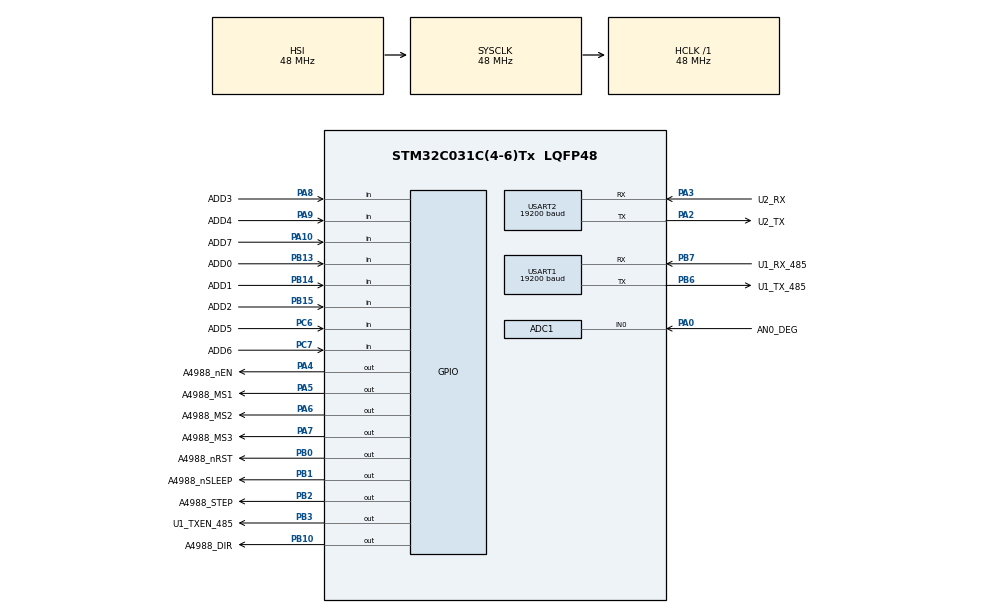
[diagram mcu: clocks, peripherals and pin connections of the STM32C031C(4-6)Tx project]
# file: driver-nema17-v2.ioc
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ADC1.Channel-1\#ChannelRegularConversion=ADC_CHANNEL_0
ADC1.Channel-2\#ChannelRegularConversion=ADC_CHANNEL_0
ADC1.Channel-3\#ChannelRegularConversion=ADC_CHANNEL_0
ADC1.NbrOfConversion=3
ADC1.NbrOfConversionFlag=1
ADC1.Rank-1\#ChannelRegularConversion=1
ADC1.Rank-2\#ChannelRegularConversion=2
ADC1.Rank-3\#ChannelRegularConversion=3
ADC1.SamplingTime-1\#ChannelRegularConversion=ADC_SAMPLINGTIME_COMMON_1
ADC1.SamplingTime-2\#ChannelRegularConversion=ADC_SAMPLINGTIME_COMMON_1
ADC1.SamplingTime-3\#ChannelRegularConversion=ADC_SAMPLINGTIME_COMMON_1
ADC1.SamplingTimeCommon1=ADC_SAMPLETIME_39CYCLES_5
ADC1.SamplingTimeCommon2=ADC_SAMPLETIME_39CYCLES_5
ADC1.SelectedChannel=ADC_CHANNEL_0
ADC1.master=1
Dma.ADC1.0.Direction=DMA_PERIPH_TO_MEMORY
Dma.ADC1.0.EventEnable=DISABLE
Dma.ADC1.0.Instance=DMA1_Channel1
Dma.ADC1.0.MemDataAlignment=DMA_MDATAALIGN_HALFWORD
Dma.ADC1.0.MemInc=DMA_MINC_ENABLE
Dma.ADC1.0.Mode=DMA_NORMAL
Dma.ADC1.0.PeriphDataAlignment=DMA_PDATAALIGN_HALFWORD
Dma.ADC1.0.PeriphInc=DMA_PINC_DISABLE
Dma.ADC1.0.Polarity=HAL_DMAMUX_REQ_GEN_RISING
Dma.ADC1.0.Priority=DMA_PRIORITY_LOW
Dma.ADC1.0.RequestNumber=1
Dma.ADC1.0.SignalID=NONE
Dma.ADC1.0.SyncEnable=DISABLE
Dma.ADC1.0.SyncPolarity=HAL_DMAMUX_SYNC_NO_EVENT
Dma.ADC1.0.SyncRequestNumber=1
Dma.ADC1.0.SyncSignalID=NONE
Dma.Request0=ADC1
Mcu.Family=STM32C0
Mcu.Name=STM32C031C(4-6)Tx
Mcu.Package=LQFP48
NVIC.DMA1_Channel1_IRQn=true\:0\:0\:false\:false\:true\:false\:true\:true
NVIC.USART1_IRQn=true\:0\:0\:false\:false\:true\:true\:true\:true
PA0.GPIO_Label=AN0_DEG
PA0.Mode=IN0
PA0.Signal=ADC1_IN0
PA10.GPIO_Label=ADD7
PA10.GPIO_Mode=GPIO_MODE_INPUT
PA10.GPIO_PuPd=GPIO_PULLDOWN
PA10.Signal=GPIO_Input
PA13.Mode=Serial_Wire
PA13.Signal=DEBUG_SWDIO
PA14-BOOT0.Mode=Serial_Wire
PA14-BOOT0.Signal=DEBUG_SWCLK
PA2.GPIO_Label=U2_TX
PA2.Mode=Asynchronous
PA2.Signal=USART2_TX
PA3.GPIO_Label=U2_RX
PA3.Mode=Asynchronous
PA3.Signal=USART2_RX
PA4.GPIO_Label=A4988_nEN
PA4.Signal=GPIO_Output
PA5.GPIO_Label=A4988_MS1
PA5.Signal=GPIO_Output
PA6.GPIO_Label=A4988_MS2
PA6.Signal=GPIO_Output
PA7.GPIO_Label=A4988_MS3
PA7.Signal=GPIO_Output
PA8.GPIO_Label=ADD3
PA8.GPIO_Mode=GPIO_MODE_INPUT
PA8.GPIO_PuPd=GPIO_PULLDOWN
PA8.Signal=GPIO_Input
PA9.GPIO_Label=ADD4
PA9.GPIO_Mode=GPIO_MODE_INPUT
PA9.GPIO_PuPd=GPIO_PULLDOWN
PA9.Signal=GPIO_Input
PB0.GPIO_Label=A4988_nRST
PB0.Signal=GPIO_Output
PB1.GPIO_Label=A4988_nSLEEP
PB1.Signal=GPIO_Output
PB10.GPIO_Label=A4988_DIR
PB10.Signal=GPIO_Output
PB13.GPIO_Label=ADD0
PB13.GPIO_Mode=GPIO_MODE_INPUT
PB13.GPIO_PuPd=GPIO_PULLDOWN
PB13.Signal=GPIO_Input
PB14.GPIO_Label=ADD1
PB14.GPIO_Mode=GPIO_MODE_INPUT
PB14.GPIO_PuPd=GPIO_PULLDOWN
PB14.Signal=GPIO_Input
PB15.GPIO_Label=ADD2
PB15.GPIO_Mode=GPIO_MODE_INPUT
PB15.GPIO_PuPd=GPIO_PULLDOWN
PB15.Signal=GPIO_Input
PB2.GPIO_Label=A4988_STEP
PB2.Signal=GPIO_Output
PB3.GPIO_Label=U1_TXEN_485
PB3.Signal=GPIO_Output
PB6.GPIO_Label=U1_TX_485
PB6.Mode=Asynchronous
PB6.Signal=USART1_TX
PB7.GPIO_Label=U1_RX_485
PB7.Mode=Asynchronous
PB7.Signal=USART1_RX
PC6.GPIO_Label=ADD5
PC6.GPIO_Mode=GPIO_MODE_INPUT
PC6.GPIO_PuPd=GPIO_PULLDOWN
PC6.Signal=GPIO_Input
PC7.GPIO_Label=ADD6
PC7.GPIO_Mode=GPIO_MODE_INPUT
PC7.GPIO_PuPd=GPIO_PULLDOWN
PC7.Signal=GPIO_Input
ProjectManager.HeapSize=0x200
ProjectManager.StackSize=0x400
ProjectManager.TargetToolchain=STM32CubeIDE
RCC.ADCCLockSelection=RCC_ADCCLKSOURCE_HSIKER
RCC.ADCFreq_Value=12000000
RCC.AHBFreq_Value=48000000
RCC.APB1CLKDivider=RCC_APB1_DIV2
RCC.CortexFreq_Value=48000000
RCC.EXTERNAL_CLOCK_VALUE=12288000
RCC.HCLKFreq_Value=48000000
RCC.HSE_VALUE=8000000
RCC.HSIKERCLKDivider=RCC_HSIKER_DIV4
RCC.HSISYSCLKDivider=RCC_HSI_DIV1
RCC.HSI_VALUE=48000000
RCC.LSE_VALUE=32768
RCC.SYSCLKFreq_VALUE=48000000
USART1.BaudRate=19200
USART1.FIFOMode=FIFOMODE_ENABLE
USART1.OverrunDisableParam=ADVFEATURE_OVERRUN_DISABLE
USART1.TXFIFOThreshold=TXFIFO_THRESHOLD_EMPTY
USART1.VirtualMode-Asynchronous=VM_ASYNC
USART2.BaudRate=19200
USART2.DMADisableonRxErrorParam=ADVFEATURE_DMA_DISABLEONRXERROR
USART2.OverrunDisableParam=ADVFEATURE_OVERRUN_DISABLE
USART2.VirtualMode-Asynchronous=VM_ASYNC
board=custom

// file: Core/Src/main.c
/* USER CODE BEGIN Header */
/**
  ******************************************************************************
  * @file           : main.c
  * @brief          : Main program body
  ******************************************************************************
  * @attention
  *
  * Copyright (c) 2024 STMicroelectronics.
  * All rights reserved.
  *
  * This software is licensed under terms that can be found in the LICENSE file
  * in the root directory of this software component.
  * If no LICENSE file comes with this software, it is provided AS-IS.
  *
  ******************************************************************************
  */
/* USER CODE END Header */
#include "main.h"

/* USER CODE BEGIN Includes */

#include <stdio.h>
#include <string.h>

/* USER CODE END Includes */

/* USER CODE BEGIN PM */

#define RX_BUFFER_SIZE 256
#define TX_BUFFER_SIZE 512
#define JSON_TOKEN_NOT_FOUND  0xFFFF
#define DEVICE_ID_BROADCAST    0x100
#define SAFETY_GAP                40

#define EN_TX_485() { HAL_GPIO_WritePin(U1_TXEN_485_GPIO_Port, U1_TXEN_485_Pin, 1); }
#define EN_RX_485() { HAL_GPIO_WritePin(U1_TXEN_485_GPIO_Port, U1_TXEN_485_Pin, 0); }

/* USER CODE END PM */

ADC_HandleTypeDef hadc1;
DMA_HandleTypeDef hdma_adc1;

UART_HandleTypeDef huart1;
UART_HandleTypeDef huart2;

/* USER CODE BEGIN PV */

uint8_t txBuffer[TX_BUFFER_SIZE];
uint8_t rxIndex, rxRcvd, rxBuffer[RX_BUFFER_SIZE];

uint16_t anValues[3], angolo4096;

/* USER CODE END PV */

void SystemClock_Config(void);
void PeriphCommonClock_Config(void);
static void MX_GPIO_Init(void);
static void MX_DMA_Init(void);
static void MX_USART1_UART_Init(void);
static void MX_ADC1_Init(void);
static void MX_USART2_UART_Init(void);

/* USER CODE BEGIN 0 */

long int ParserJSON(const char *token) {
	int i, j, ap, ch, done, trovato;

	long int retval = JSON_TOKEN_NOT_FOUND;

	/* il buffer è circolare, potrebbe trovarsi a cavalcioni,
	 * quindi prima cosa cerco la graffa aperta */
	for (i=0, ap=-1, ch=-1; i<RX_BUFFER_SIZE; i++) {
		if (rxBuffer[i] == '{') { ap = i; }
		if (rxBuffer[i] == '}') { ch = i; }
	}

	if ((ap >= 0) && (ch >= 0)) {

		/* ci sono tutte le graffe, cerco il token desiderato */
		for (i=ap+1, j=0, trovato=0, done=0; done==0; i++) {
			if (i >= RX_BUFFER_SIZE) { i = i % RX_BUFFER_SIZE; }

			if ((rxBuffer[i] == ':') && (token[j]==0)) { trovato=1; done=1; }
			else if (rxBuffer[i] == token[j]) { j++; }
			else { j=0; }

			if (rxBuffer[i] == '}') { done=1; }
		}

		if (trovato != 0) {
			/* trovato il token, tiro fuori il valore */
			retval = 0;
			for (done=0; done==0; i++) {
				if (i >= RX_BUFFER_SIZE) { i = i % RX_BUFFER_SIZE; }

				if ((rxBuffer[i] == ',') || (rxBuffer[i] == '}')) { done=1; }
				else if ((rxBuffer[i] >= '0') && (rxBuffer[i] <= '9')) {
					retval = (retval*10) + rxBuffer[i] - '0';
				}
			}
		}
	}

	return retval;
}

/* USER CODE END 0 */

int main(void)
{

  /* USER CODE BEGIN 1 */

	uint32_t status;
	int device_id;
	int32_t direction, steps_to_do;
	int32_t deg4096_to_go;

	deg4096_to_go = -1;

	/* direction : 1=avanti  -1=indietro */

  /* USER CODE END 1 */

  /* MCU Configuration--------------------------------------------------------*/

  /* Reset of all peripherals, Initializes the Flash interface and the Systick. */
  HAL_Init();

  /* Configure the system clock */
  SystemClock_Config();

/* Configure the peripherals common clocks */
  PeriphCommonClock_Config();

  /* Initialize all configured peripherals */
  MX_GPIO_Init();
  MX_DMA_Init();
  MX_USART1_UART_Init();
  MX_ADC1_Init();
  MX_USART2_UART_Init();
  /* USER CODE BEGIN 2 */

  /* A4988 MS3, MS2, MS1 LOW  LOW  LOW  =   FULL STEP  */
  /* A4988 MS3, MS2, MS1 LOW  LOW  HIGH =   HALF STEP  */
  /* A4988 MS3, MS2, MS1 LOW  HIGH LOW  =  4 microstep */
  /* A4988 MS3, MS2, MS1 LOW  HIGH HIGH =  8 microstep */
  /* A4988 MS3, MS2, MS1 HIGH HIGH HIGH = 16 microstep */
  HAL_GPIO_WritePin(A4988_MS1_GPIO_Port, A4988_MS1_Pin, 0);
  HAL_GPIO_WritePin(A4988_MS2_GPIO_Port, A4988_MS2_Pin, 0);
  HAL_GPIO_WritePin(A4988_MS3_GPIO_Port, A4988_MS3_Pin, 0);

  /* imposto step e direzione */
  HAL_GPIO_WritePin(A4988_DIR_GPIO_Port,  A4988_DIR_Pin,  0);
  HAL_GPIO_WritePin(A4988_STEP_GPIO_Port, A4988_STEP_Pin, 0);
  direction = 0; steps_to_do = 0;

  /* abilito il driver */
  HAL_GPIO_WritePin(A4988_nRST_GPIO_Port,   A4988_nRST_Pin,   1);
  HAL_GPIO_WritePin(A4988_nSLEEP_GPIO_Port, A4988_nSLEEP_Pin, 0);
  HAL_GPIO_WritePin(A4988_nEN_GPIO_Port,    A4988_nEN_Pin,    1);

  /* lettura device-id */
  int temp;
  device_id = -1;
  do {
	  temp = device_id;
	  HAL_Delay(100);
	  device_id = HAL_GPIO_ReadPin(ADD7_GPIO_Port, ADD7_Pin) & 0x01;
	  device_id = device_id << 1;
	  device_id += HAL_GPIO_ReadPin(ADD6_GPIO_Port, ADD6_Pin) & 0x01;
	  device_id = device_id << 1;
	  device_id += HAL_GPIO_ReadPin(ADD5_GPIO_Port, ADD5_Pin) & 0x01;
	  device_id = device_id << 1;
	  device_id += HAL_GPIO_ReadPin(ADD4_GPIO_Port, ADD4_Pin) & 0x01;
	  device_id = device_id << 1;
	  device_id += HAL_GPIO_ReadPin(ADD3_GPIO_Port, ADD3_Pin) & 0x01;
	  device_id = device_id << 1;
	  device_id += HAL_GPIO_ReadPin(ADD2_GPIO_Port, ADD2_Pin) & 0x01;
	  device_id = device_id << 1;
	  device_id += HAL_GPIO_ReadPin(ADD1_GPIO_Port, ADD1_Pin) & 0x01;
	  device_id = device_id << 1;
	  device_id += HAL_GPIO_ReadPin(ADD0_GPIO_Port, ADD0_Pin) & 0x01;
  } while (temp != device_id);

  // attiva la ricezione ad interrupt
  rxIndex = 0;
  EN_RX_485();
  HAL_Delay(10);
  HAL_UART_Receive_IT(&huart1, &rxRcvd, 1);

  // Avvia la conversione
  if (HAL_ADC_Start_DMA(&hadc1, (uint32_t *)anValues, 3) != HAL_OK) { Error_Handler(); }

  // invio stringa di debug
  sprintf((char *)txBuffer, "\r\n" VERSION );
  HAL_UART_Transmit(&huart2,  txBuffer, strlen((char *)txBuffer), 100);
  sprintf((char *)txBuffer, "\r\n----\r\nDevice ID: %d\r\n\r\n", device_id);
  HAL_UART_Transmit(&huart2,  txBuffer, strlen((char *)txBuffer), 100);

  /* USER CODE END 2 */

  /* Infinite loop */
  while (1)
  {

    /* USER CODE BEGIN 3 */

	  status = HAL_ADC_GetState(&hadc1);

	  if ( (status & HAL_ADC_STATE_REG_BUSY) == 0 ) {

		  // La scansione ADC è completa
		  angolo4096 = (anValues[0] + anValues[1] + anValues[2]) / 3;

		  /*
		   // mostra il valore rilevato
		   sprintf((char *)txBuffer, "%5d %5d %5d : %06d\r"
				    , anValues[0], anValues[1], anValues[2]
				    , angolo4096);
		   HAL_UART_Transmit(&huart2,  txBuffer, strlen((char *)txBuffer), 100);
		   */

		  // Riavvia un'altra conversione
		  if (HAL_ADC_Start_DMA(&hadc1, (uint32_t *)anValues, 3) != HAL_OK) { Error_Handler(); }

		  // se devo posizionare ad anello chiuso,
		  // eseguo la movimentazione
		  if (deg4096_to_go >= 0) {

 			  // abilitazione
 			  HAL_GPIO_WritePin(A4988_nSLEEP_GPIO_Port, A4988_nSLEEP_Pin, 1);
 			  HAL_GPIO_WritePin(A4988_nEN_GPIO_Port,    A4988_nEN_Pin,    0);
 			  /* A4988 MS3, MS2, MS1 LOW  HIGH HIGH =  8 microstep */
 			  HAL_GPIO_WritePin(A4988_MS1_GPIO_Port, A4988_MS1_Pin, 1);
 			  HAL_GPIO_WritePin(A4988_MS2_GPIO_Port, A4988_MS2_Pin, 1);
 			  HAL_GPIO_WritePin(A4988_MS3_GPIO_Port, A4988_MS3_Pin, 0);
 			  HAL_Delay(1);

 			  // vai avanti se è troppo indietro
 			  if (angolo4096 < (deg4096_to_go - SAFETY_GAP)) {
 				  HAL_GPIO_WritePin(A4988_DIR_GPIO_Port,  A4988_DIR_Pin, 1);
 			  }
 			  else
 	 		  // vai indietro se è troppo avanti
 	 		  if (angolo4096 > (deg4096_to_go + SAFETY_GAP)) {
 	 			  HAL_GPIO_WritePin(A4988_DIR_GPIO_Port,  A4988_DIR_Pin, 0);
 	 		  }
 	 		  else
 	 	      // sono arrivato dentro la banda di sicurezza +/- SAFETY_GAP
 			  //: disabilito
 	 		  {
 	 			  deg4096_to_go = -1;

 	 			  // disabilitazione
 	 			  HAL_GPIO_WritePin(A4988_nSLEEP_GPIO_Port, A4988_nSLEEP_Pin, 0);
 	 			  HAL_GPIO_WritePin(A4988_nEN_GPIO_Port,    A4988_nEN_Pin,    1);
 	 		  }

 			  /* faccio uno step */
 			  HAL_GPIO_WritePin(A4988_STEP_GPIO_Port, A4988_STEP_Pin, 1);
 			  HAL_Delay(1);
 			  HAL_GPIO_WritePin(A4988_STEP_GPIO_Port, A4988_STEP_Pin, 0);
 			  HAL_Delay(1);

		  }
	  }

	  /* controllo del motore */

	  /* protocollo JSON */
	  long int json1 = ParserJSON("id");
	  long int json2 = ParserJSON("dir");
	  long int json3 = ParserJSON("step");
	  long int json4 = ParserJSON("ppr");   // pulses per revolution
	  long int json5 = ParserJSON("deg");   // eseguo subito un posizionamento con controllo ad anello chiuso
	  long int json6 = ParserJSON("go");
	  long int json7 = ParserJSON("rnd");   // serve a complicare il protocollo e renderlo un po' più robusto
	  long int csum  = ParserJSON("csum");
 	  int rnd = HAL_GetTick() & 0xffff;     // genera numero pseudo casuale

	  if ((json1 == device_id) || (json1 == DEVICE_ID_BROADCAST)) {

		  // attendo un attimo per consentire lo switch TX->RX al master
		  HAL_Delay(2);

		  // invio stringa di debug
		  //sprintf((char *)txBuffer, "<-- %s\n\r", rxBuffer);
		  //HAL_UART_Transmit(&huart2,  txBuffer, strlen((char *)txBuffer), 100);

		  // FF = Broadcasting

		  long int tmpCsum = json1;
		  if ( json2 != JSON_TOKEN_NOT_FOUND ) { tmpCsum += json2; }
		  if ( json3 != JSON_TOKEN_NOT_FOUND ) { tmpCsum += json3; }
		  if ( json4 != JSON_TOKEN_NOT_FOUND ) { tmpCsum += json4; }
		  if ( json5 != JSON_TOKEN_NOT_FOUND ) { tmpCsum += json5; }
		  if ( json6 != JSON_TOKEN_NOT_FOUND ) { tmpCsum += json6; }
		  if ( json7 != JSON_TOKEN_NOT_FOUND ) { tmpCsum += json7; }

	 	  if ( csum == tmpCsum ) {

	 		  // invio stringa di debug
	 		  //sprintf((char *)txBuffer, " ID=%d (mio ID=%d)\n\r", json1, device_id);
	 		  //HAL_UART_Transmit(&huart2,  txBuffer, strlen((char *)txBuffer), 100);

	 		  // esegue il comando

	 		  // PULSES PER REVOLUTION
	 		  if ( json4 != JSON_TOKEN_NOT_FOUND ) {
	 			  switch ( json4 ) {
 			  	  	  case 400: /* A4988 MS3, MS2, MS1 LOW  LOW  HIGH =   HALF STEP  */
 			  	  		  HAL_GPIO_WritePin(A4988_MS1_GPIO_Port, A4988_MS1_Pin, 1);
 			  	  		  HAL_GPIO_WritePin(A4988_MS2_GPIO_Port, A4988_MS2_Pin, 0);
 			  	  		  HAL_GPIO_WritePin(A4988_MS3_GPIO_Port, A4988_MS3_Pin, 0);
 			  	  		  break;

 			  	  	  case 800: /* A4988 MS3, MS2, MS1 LOW  HIGH LOW  =  4 microstep */
 			  	  		  HAL_GPIO_WritePin(A4988_MS1_GPIO_Port, A4988_MS1_Pin, 0);
 			  	  		  HAL_GPIO_WritePin(A4988_MS2_GPIO_Port, A4988_MS2_Pin, 1);
 			  	  		  HAL_GPIO_WritePin(A4988_MS3_GPIO_Port, A4988_MS3_Pin, 0);
 			  	  		  break;

 			  	  	  case 1600: /* A4988 MS3, MS2, MS1 LOW  HIGH HIGH =  8 microstep */
 			  	  		  HAL_GPIO_WritePin(A4988_MS1_GPIO_Port, A4988_MS1_Pin, 1);
 			  	  		  HAL_GPIO_WritePin(A4988_MS2_GPIO_Port, A4988_MS2_Pin, 1);
 			  	  		  HAL_GPIO_WritePin(A4988_MS3_GPIO_Port, A4988_MS3_Pin, 0);
 			  	  		  break;

 			  	  	  case 3200: /* A4988 MS3, MS2, MS1 HIGH HIGH HIGH = 16 microstep */
 			  	  		  HAL_GPIO_WritePin(A4988_MS1_GPIO_Port, A4988_MS1_Pin, 1);
 			  	  		  HAL_GPIO_WritePin(A4988_MS2_GPIO_Port, A4988_MS2_Pin, 1);
 			  	  		  HAL_GPIO_WritePin(A4988_MS3_GPIO_Port, A4988_MS3_Pin, 1);
 			  	  		  break;

	 			  	  case 200:   /* A4988 MS3, MS2, MS1 LOW  LOW  LOW  =   FULL STEP  */
	 			  	  default:
	 			  		  HAL_GPIO_WritePin(A4988_MS1_GPIO_Port, A4988_MS1_Pin, 0);
	 			  		  HAL_GPIO_WritePin(A4988_MS2_GPIO_Port, A4988_MS2_Pin, 0);
	 			  		  HAL_GPIO_WritePin(A4988_MS3_GPIO_Port, A4988_MS3_Pin, 0);
	 			  		  break;
	 			  }
	 		  }

	 		  // DIRECTION
	 		  if ( json2 != JSON_TOKEN_NOT_FOUND ) {
	 			 direction = (json2 != 0)?(1):(-1);  // 1 avanti, -1 indietro
	 		  }

	 		  // STEPS
	 		  if ( json3 != JSON_TOKEN_NOT_FOUND ) {
	 			 steps_to_do += direction * json3;
	 		  }

	 		  // DEG (eseguo subito)
	 		  if ( json5 != JSON_TOKEN_NOT_FOUND ) {
	 			  deg4096_to_go = json5;
	 		  }

	 		  // GO
	 		  if (( json6 != JSON_TOKEN_NOT_FOUND ) && ( json6 == 1 )) {

	 			  // abilitazione
	 			  HAL_GPIO_WritePin(A4988_nSLEEP_GPIO_Port, A4988_nSLEEP_Pin, 1);
	 			  HAL_GPIO_WritePin(A4988_nEN_GPIO_Port,    A4988_nEN_Pin,    0);
	 			  HAL_Delay(10);

	 			  // vai avanti
	 			  while (steps_to_do > 0) {
	 				  HAL_GPIO_WritePin(A4988_DIR_GPIO_Port,  A4988_DIR_Pin, 1);

		 			  /* faccio uno step */
		 			  HAL_GPIO_WritePin(A4988_STEP_GPIO_Port, A4988_STEP_Pin, 1);
		 			  HAL_Delay(1);
		 			  HAL_GPIO_WritePin(A4988_STEP_GPIO_Port, A4988_STEP_Pin, 0);
		 			  HAL_Delay(1);

		 			  steps_to_do --;
	 			  }

	 			  // vai indietro
	 			  while (steps_to_do < 0) {
	 				  HAL_GPIO_WritePin(A4988_DIR_GPIO_Port,  A4988_DIR_Pin, 0);

		 			  /* faccio uno step */
		 			  HAL_GPIO_WritePin(A4988_STEP_GPIO_Port, A4988_STEP_Pin, 1);
		 			  HAL_Delay(1);
		 			  HAL_GPIO_WritePin(A4988_STEP_GPIO_Port, A4988_STEP_Pin, 0);
		 			  HAL_Delay(1);

		 			  steps_to_do ++;
	 			  }

	 			  // disabilitazione
 	 			  HAL_GPIO_WritePin(A4988_nSLEEP_GPIO_Port, A4988_nSLEEP_Pin, 0);
	 			  HAL_GPIO_WritePin(A4988_nEN_GPIO_Port,    A4988_nEN_Pin,    1);

	 		  }

	 		  if (json1 == device_id) {
	 			  // non risponde per i broadcasting

	 			  EN_TX_485();

	 			  // preparo la stringa con due byte di stuffing avanti e indietro
	 			  sprintf((char *)txBuffer, "  {id:%d,deg:%d,ack:1,rnd:%d,csum:%d}\n ",
	 	  				              device_id, angolo4096, rnd, device_id + angolo4096 + 1 + rnd );

	 			  // se Timeout != 0 la Transmit è bloccante
	 			  HAL_UART_Transmit(&huart1,  txBuffer, strlen((char *)txBuffer), 100);

	 			  EN_RX_485();
	 		  }
	 	  }
	 	  else if (json1 == device_id) {
 			  // risponde solo se è diretto a me e non per i broadcasting

	 		  EN_TX_485();

	 		  // preparo la stringa con due byte di stuffing avanti e indietro
 			  sprintf((char *)txBuffer, "  {id:%d,ack:0,rnd:%d,csum:%d}\n ",
 	  				              device_id, rnd, device_id + 0 + rnd );

 			  // se Timeout != 0 la Transmit è bloccante
 			  HAL_UART_Transmit(&huart1,  txBuffer, strlen((char *)txBuffer), 100);

 			  EN_RX_485();

	 	  }
	  }

	  if (json1 != JSON_TOKEN_NOT_FOUND) {
		  // riavvia la ricezione per un'altra stringa
	 	  memset(rxBuffer, 0, RX_BUFFER_SIZE);
	 	  rxIndex = 0;
	  }

  }
  /* USER CODE END 3 */
}

void SystemClock_Config(void)
{
  RCC_OscInitTypeDef RCC_OscInitStruct = {0};
  RCC_ClkInitTypeDef RCC_ClkInitStruct = {0};

  /** Initializes the RCC Oscillators according to the specified parameters
  * in the RCC_OscInitTypeDef structure.
  */
  RCC_OscInitStruct.OscillatorType = RCC_OSCILLATORTYPE_HSI;
  RCC_OscInitStruct.HSIState = RCC_HSI_ON;
  RCC_OscInitStruct.HSIDiv = RCC_HSI_DIV1;
  RCC_OscInitStruct.HSICalibrationValue = RCC_HSICALIBRATION_DEFAULT;
  if (HAL_RCC_OscConfig(&RCC_OscInitStruct) != HAL_OK)
  {
    Error_Handler();
  }

  /** Initializes the CPU, AHB and APB buses clocks
  */
  RCC_ClkInitStruct.ClockType = RCC_CLOCKTYPE_HCLK|RCC_CLOCKTYPE_SYSCLK
                              |RCC_CLOCKTYPE_PCLK1;
  RCC_ClkInitStruct.SYSCLKSource = RCC_SYSCLKSOURCE_HSI;
  RCC_ClkInitStruct.SYSCLKDivider = RCC_SYSCLK_DIV1;
  RCC_ClkInitStruct.AHBCLKDivider = RCC_HCLK_DIV1;
  RCC_ClkInitStruct.APB1CLKDivider = RCC_APB1_DIV2;

  if (HAL_RCC_ClockConfig(&RCC_ClkInitStruct, FLASH_LATENCY_1) != HAL_OK)
  {
    Error_Handler();
  }
}

void PeriphCommonClock_Config(void)
{
  RCC_PeriphCLKInitTypeDef PeriphClkInit = {0};

  /** Initializes the common peripherals clocks
  */
  PeriphClkInit.PeriphClockSelection = RCC_PERIPHCLK_HSIKER;
  PeriphClkInit.HSIKerClockDivider = RCC_HSIKER_DIV4;

  if (HAL_RCCEx_PeriphCLKConfig(&PeriphClkInit) != HAL_OK)
  {
    Error_Handler();
  }
}

static void MX_ADC1_Init(void)
{

  ADC_ChannelConfTypeDef sConfig = {0};

  /** Configure the global features of the ADC (Clock, Resolution, Data Alignment and number of conversion)
  */
  hadc1.Instance = ADC1;
  hadc1.Init.ClockPrescaler = ADC_CLOCK_SYNC_PCLK_DIV2;
  hadc1.Init.Resolution = ADC_RESOLUTION_12B;
  hadc1.Init.DataAlign = ADC_DATAALIGN_RIGHT;
  hadc1.Init.ScanConvMode = ADC_SCAN_ENABLE;
  hadc1.Init.EOCSelection = ADC_EOC_SINGLE_CONV;
  hadc1.Init.LowPowerAutoWait = DISABLE;
  hadc1.Init.LowPowerAutoPowerOff = DISABLE;
  hadc1.Init.ContinuousConvMode = DISABLE;
  hadc1.Init.NbrOfConversion = 3;
  hadc1.Init.DiscontinuousConvMode = DISABLE;
  hadc1.Init.ExternalTrigConv = ADC_SOFTWARE_START;
  hadc1.Init.ExternalTrigConvEdge = ADC_EXTERNALTRIGCONVEDGE_NONE;
  hadc1.Init.DMAContinuousRequests = DISABLE;
  hadc1.Init.Overrun = ADC_OVR_DATA_PRESERVED;
  hadc1.Init.SamplingTimeCommon1 = ADC_SAMPLETIME_39CYCLES_5;
  hadc1.Init.SamplingTimeCommon2 = ADC_SAMPLETIME_39CYCLES_5;
  hadc1.Init.OversamplingMode = DISABLE;
  hadc1.Init.TriggerFrequencyMode = ADC_TRIGGER_FREQ_HIGH;
  if (HAL_ADC_Init(&hadc1) != HAL_OK)
  {
    Error_Handler();
  }

  /** Configure Regular Channel
  */
  sConfig.Channel = ADC_CHANNEL_0;
  sConfig.Rank = ADC_REGULAR_RANK_1;
  sConfig.SamplingTime = ADC_SAMPLINGTIME_COMMON_1;
  if (HAL_ADC_ConfigChannel(&hadc1, &sConfig) != HAL_OK)
  {
    Error_Handler();
  }

  /** Configure Regular Channel
  */
  sConfig.Rank = ADC_REGULAR_RANK_2;
  if (HAL_ADC_ConfigChannel(&hadc1, &sConfig) != HAL_OK)
  {
    Error_Handler();
  }

  /** Configure Regular Channel
  */
  sConfig.Rank = ADC_REGULAR_RANK_3;
  if (HAL_ADC_ConfigChannel(&hadc1, &sConfig) != HAL_OK)
  {
    Error_Handler();
  }
  /* USER CODE BEGIN ADC1_Init 2 */

  /* Calibrazione ADC */
  HAL_ADCEx_Calibration_Start(&hadc1);

  /* USER CODE END ADC1_Init 2 */

}

static void MX_USART1_UART_Init(void)
{

  huart1.Instance = USART1;
  huart1.Init.BaudRate = 19200;
  huart1.Init.WordLength = UART_WORDLENGTH_8B;
  huart1.Init.StopBits = UART_STOPBITS_1;
  huart1.Init.Parity = UART_PARITY_NONE;
  huart1.Init.Mode = UART_MODE_TX_RX;
  huart1.Init.HwFlowCtl = UART_HWCONTROL_NONE;
  huart1.Init.OverSampling = UART_OVERSAMPLING_16;
  huart1.Init.OneBitSampling = UART_ONE_BIT_SAMPLE_DISABLE;
  huart1.Init.ClockPrescaler = UART_PRESCALER_DIV1;
  huart1.AdvancedInit.AdvFeatureInit = UART_ADVFEATURE_RXOVERRUNDISABLE_INIT;
  huart1.AdvancedInit.OverrunDisable = UART_ADVFEATURE_OVERRUN_DISABLE;
  if (HAL_UART_Init(&huart1) != HAL_OK)
  {
    Error_Handler();
  }
  if (HAL_UARTEx_SetTxFifoThreshold(&huart1, UART_TXFIFO_THRESHOLD_8_8) != HAL_OK)
  {
    Error_Handler();
  }
  if (HAL_UARTEx_SetRxFifoThreshold(&huart1, UART_RXFIFO_THRESHOLD_1_8) != HAL_OK)
  {
    Error_Handler();
  }
  if (HAL_UARTEx_EnableFifoMode(&huart1) != HAL_OK)
  {
    Error_Handler();
  }

}

static void MX_USART2_UART_Init(void)
{

  huart2.Instance = USART2;
  huart2.Init.BaudRate = 19200;
  huart2.Init.WordLength = UART_WORDLENGTH_8B;
  huart2.Init.StopBits = UART_STOPBITS_1;
  huart2.Init.Parity = UART_PARITY_NONE;
  huart2.Init.Mode = UART_MODE_TX_RX;
  huart2.Init.HwFlowCtl = UART_HWCONTROL_NONE;
  huart2.Init.OverSampling = UART_OVERSAMPLING_16;
  huart2.Init.OneBitSampling = UART_ONE_BIT_SAMPLE_DISABLE;
  huart2.Init.ClockPrescaler = UART_PRESCALER_DIV1;
  huart2.AdvancedInit.AdvFeatureInit = UART_ADVFEATURE_RXOVERRUNDISABLE_INIT|UART_ADVFEATURE_DMADISABLEONERROR_INIT;
  huart2.AdvancedInit.OverrunDisable = UART_ADVFEATURE_OVERRUN_DISABLE;
  huart2.AdvancedInit.DMADisableonRxError = UART_ADVFEATURE_DMA_DISABLEONRXERROR;
  if (HAL_UART_Init(&huart2) != HAL_OK)
  {
    Error_Handler();
  }

}

static void MX_DMA_Init(void)
{

  /* DMA controller clock enable */
  __HAL_RCC_DMA1_CLK_ENABLE();

  /* DMA interrupt init */
  /* DMA1_Channel1_IRQn interrupt configuration */
  HAL_NVIC_SetPriority(DMA1_Channel1_IRQn, 0, 0);
  HAL_NVIC_EnableIRQ(DMA1_Channel1_IRQn);

}

static void MX_GPIO_Init(void)
{
  GPIO_InitTypeDef GPIO_InitStruct = {0};

  /* GPIO Ports Clock Enable */
  __HAL_RCC_GPIOA_CLK_ENABLE();
  __HAL_RCC_GPIOB_CLK_ENABLE();
  __HAL_RCC_GPIOC_CLK_ENABLE();

  /*Configure GPIO pin Output Level */
  HAL_GPIO_WritePin(GPIOA, A4988_nEN_Pin|A4988_MS1_Pin|A4988_MS2_Pin|A4988_MS3_Pin, GPIO_PIN_RESET);

  /*Configure GPIO pin Output Level */
  HAL_GPIO_WritePin(GPIOB, A4988_nRST_Pin|A4988_nSLEEP_Pin|A4988_STEP_Pin|A4988_DIR_Pin
                          |U1_TXEN_485_Pin, GPIO_PIN_RESET);

  /*Configure GPIO pins : A4988_nEN_Pin A4988_MS1_Pin A4988_MS2_Pin A4988_MS3_Pin */
  GPIO_InitStruct.Pin = A4988_nEN_Pin|A4988_MS1_Pin|A4988_MS2_Pin|A4988_MS3_Pin;
  GPIO_InitStruct.Mode = GPIO_MODE_OUTPUT_PP;
  GPIO_InitStruct.Pull = GPIO_NOPULL;
  GPIO_InitStruct.Speed = GPIO_SPEED_FREQ_LOW;
  HAL_GPIO_Init(GPIOA, &GPIO_InitStruct);

  /*Configure GPIO pins : A4988_nRST_Pin A4988_nSLEEP_Pin A4988_STEP_Pin A4988_DIR_Pin
                           U1_TXEN_485_Pin */
  GPIO_InitStruct.Pin = A4988_nRST_Pin|A4988_nSLEEP_Pin|A4988_STEP_Pin|A4988_DIR_Pin
                          |U1_TXEN_485_Pin;
  GPIO_InitStruct.Mode = GPIO_MODE_OUTPUT_PP;
  GPIO_InitStruct.Pull = GPIO_NOPULL;
  GPIO_InitStruct.Speed = GPIO_SPEED_FREQ_LOW;
  HAL_GPIO_Init(GPIOB, &GPIO_InitStruct);

  /*Configure GPIO pins : ADD0_Pin ADD1_Pin ADD2_Pin */
  GPIO_InitStruct.Pin = ADD0_Pin|ADD1_Pin|ADD2_Pin;
  GPIO_InitStruct.Mode = GPIO_MODE_INPUT;
  GPIO_InitStruct.Pull = GPIO_PULLDOWN;
  HAL_GPIO_Init(GPIOB, &GPIO_InitStruct);

  /*Configure GPIO pins : ADD3_Pin ADD4_Pin ADD7_Pin */
  GPIO_InitStruct.Pin = ADD3_Pin|ADD4_Pin|ADD7_Pin;
  GPIO_InitStruct.Mode = GPIO_MODE_INPUT;
  GPIO_InitStruct.Pull = GPIO_PULLDOWN;
  HAL_GPIO_Init(GPIOA, &GPIO_InitStruct);

  /*Configure GPIO pins : ADD5_Pin ADD6_Pin */
  GPIO_InitStruct.Pin = ADD5_Pin|ADD6_Pin;
  GPIO_InitStruct.Mode = GPIO_MODE_INPUT;
  GPIO_InitStruct.Pull = GPIO_PULLDOWN;
  HAL_GPIO_Init(GPIOC, &GPIO_InitStruct);

}

/* USER CODE BEGIN 4 */

void HAL_UART_RxCpltCallback(UART_HandleTypeDef *huart)
{
    if (huart == &huart1)
    {
    	rxBuffer[rxIndex] = rxRcvd;

        // il carattere dovrebbe essere già stato letto da HAL in rxBuffer[rxIndex]
    	if (rxBuffer[0] == '{') {

    		/* è partito un JSON */
    		rxIndex ++;
    		if (rxIndex < RX_BUFFER_SIZE) {
    			/* termino sempre la stringa  per sicurezza */
    			rxBuffer[rxIndex] = '\0';
    		}
    		else {
    			/* si è riempito il buffer, non va bene, resetto tutto e riparto */
    			memset(rxBuffer, 0, RX_BUFFER_SIZE);
    			rxIndex = 0;
    		}
    	}
    	else {
    	    rxIndex = 0;
    	}

        // riattivo la ricezione
    	HAL_UART_Receive_IT(&huart1, &rxRcvd, 1);
    }
}

/* USER CODE END 4 */

void Error_Handler(void)
{
  /* USER CODE BEGIN Error_Handler_Debug */
  /* User can add his own implementation to report the HAL error return state */
  __disable_irq();

  sprintf((char *)txBuffer, "Error! %s %d\n\r", __FILE__,__LINE__);
  HAL_UART_Transmit(&huart2,  txBuffer, strlen((char *)txBuffer), 100);

  while (1)
  {
  }
  /* USER CODE END Error_Handler_Debug */
}
